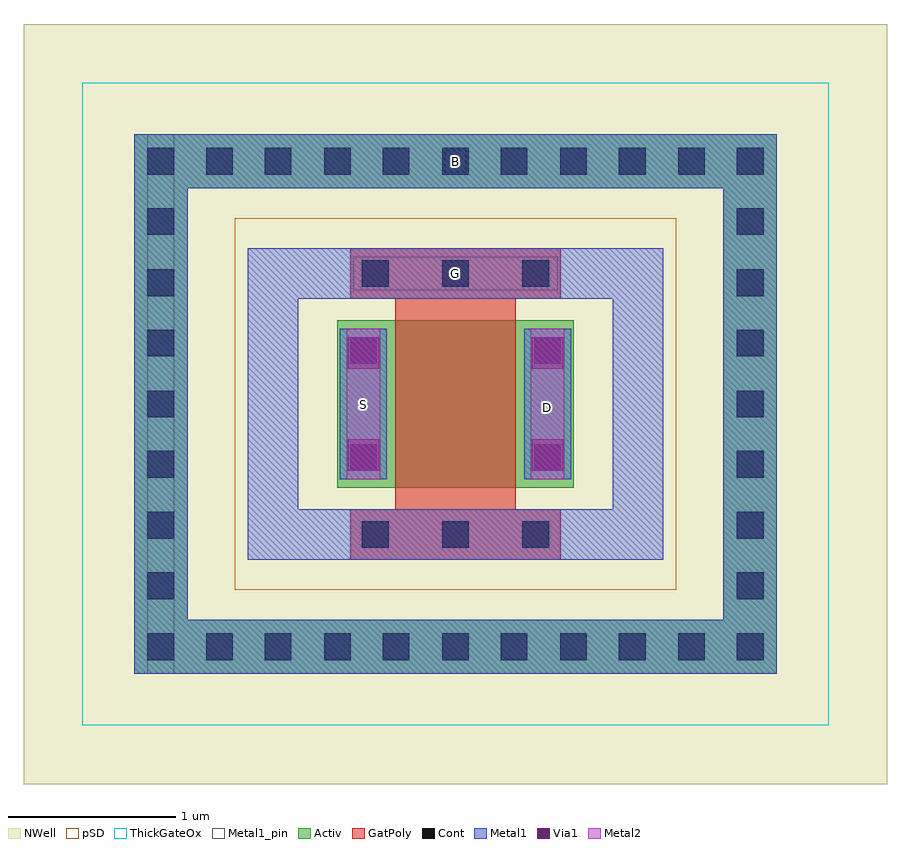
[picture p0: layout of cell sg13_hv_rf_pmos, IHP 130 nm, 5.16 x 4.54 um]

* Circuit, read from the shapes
.subckt sg13_hv_rf_pmos B D G S
XM1 D G S B sg13_hv_pmos w=1u l=0.72u
.ends

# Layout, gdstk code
from math import pi, radians
import gdstk
lib = gdstk.Library(unit=1e-6, precision=5e-09)
def R(c, l, rs):  # rectangles x0, y0, x1, y1
    for r in rs: c.add(gdstk.rectangle(r[:2], r[2:], *l))
def A(c, l, x, y, w, h, nx, ny, dx, dy):  # array of equal rectangles
    R(c, l, [(x+i*dx, y+j*dy, x+i*dx+w, y+j*dy+h) for i in range(nx) for j in range(ny)])
def P(c, l, *ps):  # polygons
    for p in ps: c.add(gdstk.Polygon(p, *l))
Activ = (1, 0)
GatPoly = (5, 0)
Cont = (6, 0)
Metal1 = (8, 0)
Metal1_pin = (8, 2)
Metal2 = (10, 0)
pSD = (14, 0)
Via1 = (19, 0)
NWell = (31, 0)
ThickGateOx = (44, 0)

rfpmoshv = lib.new_cell('rfpmosHV')
R(rfpmoshv, Activ, [(1.77,1.875,2.77,3.285)])
P(rfpmoshv, Activ, [(0.66,0.66),(0.66,4.18),(0.98,4.18),(0.98,0.98),(3.56,0.98),(3.56,4.18),(0.66,4.18),(0.66,4.5),(3.88,4.5),(3.88,0.66)])
R(rfpmoshv, GatPoly, [(1.34,1.95,1.64,3.21), (2.9,1.95,3.2,3.21), (1.64,2.22,2.9,2.94)])
A(rfpmoshv, Cont, 0.74, 0.74, 0.16, 0.16, 1, 3, 0, 0.35)
A(rfpmoshv, Cont, 3.64, 0.74, 0.16, 0.16, 1, 3, 0, 0.35)
A(rfpmoshv, Cont, 1.41, 2.02, 0.16, 0.16, 1, 3, 0, 0.48)
A(rfpmoshv, Cont, 2.97, 2.02, 0.16, 0.16, 1, 3, 0, 0.48)
R(rfpmoshv, Cont, [(1.1,0.74,1.26,0.9), (1.465,0.74,1.625,0.9), (1.825,0.74,1.985,0.9), (2.19,0.74,2.35,0.9), (2.55,0.74,2.71,0.9), (2.915,0.74,3.075,0.9), (3.275,0.74,3.435,0.9), (0.74,1.795,0.9,1.955), (3.64,1.795,3.8,1.955), (1.87,1.95,2.03,2.11), (2.51,1.95,2.67,2.11), (0.74,2.145,0.9,2.305), (3.64,2.145,3.8,2.305), (0.74,2.5,0.9,2.66), (3.64,2.5,3.8,2.66), (0.74,2.85,0.9,3.01), (3.64,2.85,3.8,3.01), (1.87,3.05,2.03,3.21), (2.51,3.05,2.67,3.21), (0.74,3.205,0.9,3.365), (3.64,3.205,3.8,3.365), (0.74,3.555,0.9,3.715), (3.64,3.555,3.8,3.715), (0.74,3.91,0.9,4.07), (3.64,3.91,3.8,4.07), (0.74,4.26,0.9,4.42), (1.1,4.26,1.26,4.42), (1.465,4.26,1.625,4.42), (1.825,4.26,1.985,4.42), (2.19,4.26,2.35,4.42), (2.55,4.26,2.71,4.42), (2.915,4.26,3.075,4.42), (3.275,4.26,3.435,4.42), (3.64,4.26,3.8,4.42)])
R(rfpmoshv, Metal1, [(0.66,0.66,3.88,0.98), (0.66,0.98,0.98,4.18), (3.56,0.98,3.88,4.18), (1.82,1.89,2.72,2.17), (1.39,1.97,1.59,3.19), (2.95,1.97,3.15,3.19), (1.82,2.99,2.72,3.27), (0.66,4.18,3.88,4.5)])
P(rfpmoshv, Metal1, [(1.34,1.34),(1.34,3.52),(1.64,3.52),(1.64,1.64),(2.9,1.64),(2.9,3.52),(1.34,3.52),(1.34,3.82),(3.2,3.82),(3.2,1.34)])
R(rfpmoshv, Metal1_pin, [(0.66,0.74,3.88,0.9), (0.66,0.74,3.88,0.9), (1.82,1.89,2.72,2.17), (1.82,1.89,2.72,2.17), (1.39,1.97,1.59,3.19), (1.39,1.97,1.59,3.19), (1.82,2.99,2.72,3.27), (1.82,2.99,2.72,3.27)])
R(rfpmoshv, Metal2, [(1.82,1.93,2.72,2.13), (1.82,3.03,2.72,3.23)])
R(rfpmoshv, pSD, [(1.16,1.26,3.38,3.9)])
R(rfpmoshv, Via1, [(1.87,1.935,2.06,2.125), (2.48,1.935,2.67,2.125), (1.87,3.035,2.06,3.225), (2.48,3.035,2.67,3.225)])
R(rfpmoshv, NWell, [(0,0,4.54,5.16)])
R(rfpmoshv, ThickGateOx, [(0.35,0.35,4.19,4.81)])
rfpmoshv.add(gdstk.Label('S', (2.27,2.045), layer=63, texttype=0))
rfpmoshv.add(gdstk.Label('D', (2.27,3.15), layer=63, texttype=0))
rfpmoshv.add(gdstk.Label('G', (1.49,2.58), layer=63, texttype=0))
rfpmoshv.add(gdstk.Label('TIE', (2.27,0.82), layer=63, texttype=0))
rfpmoshv.add(gdstk.Label('rfpmosHV', (2.27,4.34), layer=63, texttype=0))

sg13_hv_rf_pmos = lib.new_cell('sg13_hv_rf_pmos')
R(sg13_hv_rf_pmos, Metal1_pin, [(3.065,2.185,3.195,2.315), (1.965,2.205,2.095,2.335), (2.515,2.985,2.645,3.115), (2.515,3.655,2.645,3.785)])
sg13_hv_rf_pmos.add(gdstk.Reference(rfpmoshv, (0,4.54), rotation=3*pi/2))
sg13_hv_rf_pmos.add(gdstk.Label('B', (2.58,3.72), layer=8, texttype=25))
sg13_hv_rf_pmos.add(gdstk.Label('G', (2.58,3.05), layer=8, texttype=25))
sg13_hv_rf_pmos.add(gdstk.Label('D', (3.13,2.25), layer=8, texttype=25))
sg13_hv_rf_pmos.add(gdstk.Label('S', (2.03,2.27), layer=8, texttype=25))

lib.write_gds('sg13_hv_rf_pmos.gds')
